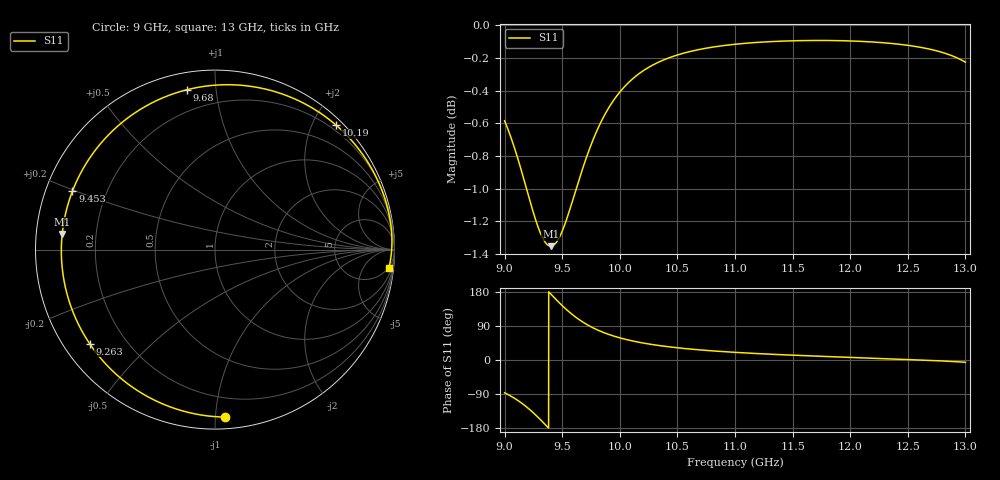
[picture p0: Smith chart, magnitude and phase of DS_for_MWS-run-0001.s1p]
! TOUCHSTONE file generated by CST DESIGN STUDIO
! Date and time: Tue Feb  4 17:04:15 2025
! Project name: C:\Work\MatlabApps\UnitCellOptimizationMatlab\CST\unitcell.cst
! Tree item: Tasks\Sweep1\SPara1\S-Parameters
! Header version: 2024
! Port assignment regex: !\s*Touchstone port\s*([0-9]+)\s*=\s*(CST MWS port|CST DES external port|CST DES block port)\s*(.+)\s* \(\"(.*)\"\)(\s*mode\s*([0-9]+))?.*
! Touchstone port assignment:
! Touchstone port 1 = CST DES external port 1 ("")
# GHz S MA R 50
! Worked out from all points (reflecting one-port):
!   4001 points, 9 GHz to 13 GHz, reference 50 ohm
!   lowest |S11| = -1.4 dB at 9.401 GHz (marker M1), VSWR 12.87, Z = 3.9 + j2.55 ohm
!   phase of S11 starts at -87 deg and turns -279 deg over the sweep
!   S11 on the Smith chart (normalised r, x): 9 GHz: 0.07, -1.06; 9.263 GHz: 0.08, -0.33; 9.453 GHz: 0.08, +0.20; 9.68 GHz: 0.09, +0.84; 10.19 GHz: 0.11, +2.37; 13 GHz: 4, -18
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9  0.9348 -86.6
9.02  0.9311 -89.6
9.076  0.9193 -99.2
9.142  0.9035 -112.5
9.203  0.8878 -126.9
9.263  0.8732 -143.2
9.335  0.8601 -164.9
9.368  0.8569 -175.3
9.401  0.8558 174.1
9.453  0.8585 157.7
9.5  0.8649 143.5
9.544  0.8734 131.2
9.587  0.883 120.2
9.632  0.8935 109.8
9.68  0.9045 99.9
9.75  0.919 87.6
9.834  0.9336 75.6
9.914  0.9447 66.5
10  0.9539 58.5
10.185  0.9674 45.7
10.329  0.974 38.7
10.5  0.9792 32.2
10.723  0.9835 26.0
11  0.9866 20.2
11.5  0.989 12.7
12  0.9889 7.0
12.5  0.9859 1.5
13  0.9743 -6.0
